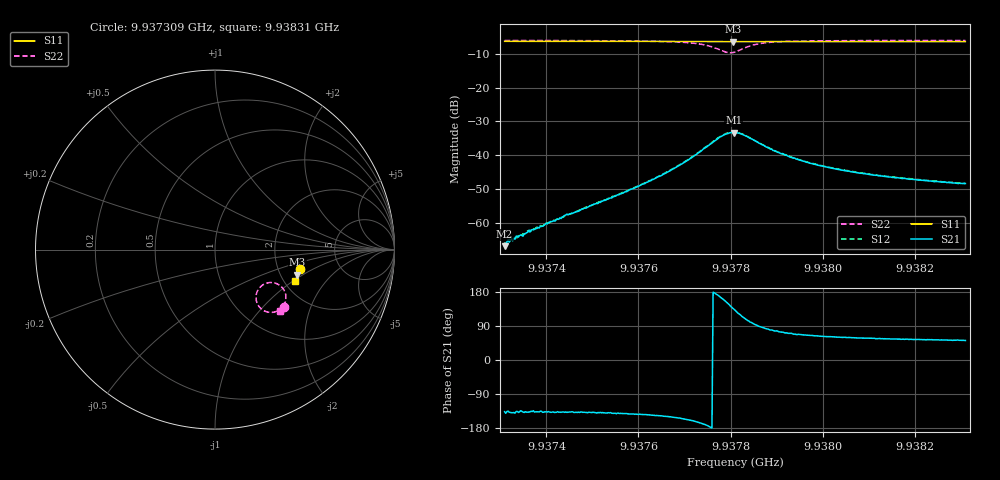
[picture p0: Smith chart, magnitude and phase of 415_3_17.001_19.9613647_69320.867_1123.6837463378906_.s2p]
#  HZ  S  RI  R  50.00
! Rohde & Schwarz Vector Network Analyzer
! Rohde-Schwarz,ZNB20-2Port,1311601062101988,3.16
! Created: UTC 3/20/2024, 11:10:43 PM
! freq[Hz]  re:S11  im:S11  re:S21  im:S21  re:S12  im:S12  re:S22  im:S22
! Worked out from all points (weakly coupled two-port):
!   401 points, 9.937309 GHz to 9.93831 GHz, reference 50 ohm
!   highest |S21| = -33.30 dB at 9.937807 GHz (marker M1); lowest = -66.9 dB at 9.937309 GHz (marker M2)
!   lowest |S11| = -6.4 dB at 9.937805 GHz (marker M3), VSWR 2.84, Z = 123 - j44.7 ohm
!   |S11| at or under -10 dB: nowhere
!   |S22| runs from -9.7 to -6.1 dB; largest |S21 - S12| = 0.00095
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9.9373093e9  0.4711 -0.1091  -0.000327 -0.00031  -0.000396 -0.000335  0.3837 -0.3174
9.9373193e9  0.4707 -0.1098  -0.000382 -0.000348  -0.000403 -0.000398  0.383 -0.3181
9.9373393e9  0.4705 -0.1111  -0.000461 -0.000411  -0.000476 -0.000429  0.3814 -0.3194
9.9373819e9  0.4696 -0.1141  -0.000623 -0.000584  -0.000649 -0.000583  0.3779 -0.3227
9.9374419e9  0.4683 -0.118  -0.000955 -0.000886  -0.000952 -0.000837  0.3722 -0.3273
9.937477e9  0.4675 -0.1203  -0.00118 -0.00109  -0.00119 -0.00103  0.3684 -0.3304
9.937562e9  0.4656 -0.1261  -0.00208 -0.0017  -0.00217 -0.00165  0.3562 -0.3384
9.9376446e9  0.4636 -0.1316  -0.00406 -0.00263  -0.00415 -0.00261  0.3355 -0.347
9.9376997e9  0.4619 -0.1353  -0.00711 -0.00324  -0.00731 -0.00317  0.3077 -0.3499
9.9377447e9  0.4602 -0.1382  -0.0127 -0.00214  -0.0129 -0.00182  0.264 -0.3351
9.9377797e9  0.4585 -0.1397  -0.0182 0.00511  -0.0184 0.00566  0.2287 -0.2718
9.9377948e9  0.4579 -0.1401  -0.0178 0.0109  -0.018 0.0117  0.2391 -0.226
9.9378048e9  0.4578 -0.1402  -0.0158 0.0147  -0.0155 0.0154  0.2615 -0.2001
9.9378073e9  0.4579 -0.1403  -0.0151 0.0155  -0.0149 0.0163  0.2684 -0.1954
9.9378098e9  0.458 -0.1403  -0.0143 0.0162  -0.014 0.0169  0.2759 -0.1916
9.9378298e9  0.4583 -0.1413  -0.00693 0.0183  -0.00661 0.0188  0.3352 -0.1868
9.9378648e9  0.4585 -0.1436  0.000576 0.0148  0.00102 0.0149  0.386 -0.2285
9.9378998e9  0.4579 -0.1465  0.00255 0.011  0.00297 0.0109  0.3954 -0.2627
9.9379774e9  0.4561 -0.1518  0.00318 0.00677  0.00341 0.00677  0.3895 -0.2994
9.938065e9  0.4539 -0.1577  0.00293 0.00483  0.00305 0.00486  0.3803 -0.3181
9.9381451e9  0.4517 -0.1628  0.00269 0.00393  0.00281 0.00393  0.3728 -0.3283
9.9383102e9  0.4472 -0.1735  0.00236 0.00297  0.00241 0.00299  0.3601 -0.3428
